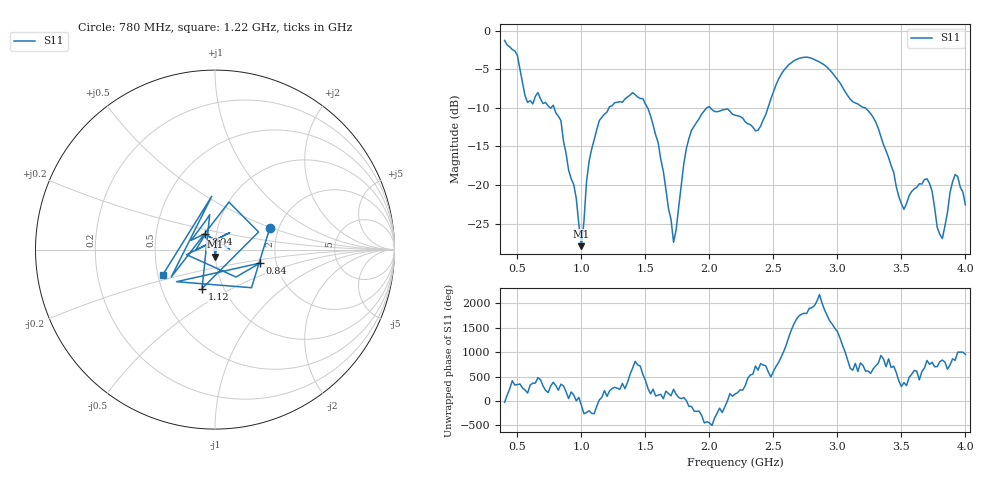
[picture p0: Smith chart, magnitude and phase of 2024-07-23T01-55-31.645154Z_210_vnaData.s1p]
!Created with skrf (http://scikit-rf.org).
# Hz S RI R 50.0
!freq ReS11 ImS11
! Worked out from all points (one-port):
!   181 points, 400 MHz to 4 GHz, reference 50 ohm
!   lowest |S11| = -27.9 dB at 1 GHz (marker M1), VSWR 1.08, Z = 49.9 - j4.01 ohm
!   |S11| at or under -10 dB: 1.518 GHz to 1.978 GHz (460.7 MHz wide, 26.4 % of centre); 2.009 GHz to 2.457 GHz (448.4 MHz wide, 20.1 % of centre); 3.217 GHz to end of sweep (the widest 3 of 5)
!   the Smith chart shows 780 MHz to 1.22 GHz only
!   S11 on the Smith chart (normalised r, x): 780 MHz: 1.79, +0.49; 840 MHz: 1.64, -0.26; 940 MHz: 0.89, +0.15; 1.12 GHz: 0.79, -0.36; 1.22 GHz: 0.53, -0.17
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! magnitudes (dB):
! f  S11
! 400 MHz  -1.3
! 500 MHz  -3.2
! 580 MHz  -9.3
! 780 MHz  -9.7
! 840 MHz  -11.6
! 860 MHz  -14.3
! 940 MHz  -19.9
! 1 GHz  -27.9
! 1.06 GHz  -16.9
! 1.12 GHz  -12.8
! 1.22 GHz  -9.8
! 1.3 GHz  -9.2
! 1.48 GHz  -8.8
! 1.6 GHz  -14.5
! 1.72 GHz  -27.4
! 1.76 GHz  -22.9
! 1.86 GHz  -12.9
! 2.2 GHz  -10.9
! 2.38 GHz  -12.9
! 2.66 GHz  -3.9
! 3.1 GHz  -8.9
! 3.3 GHz  -11.8
! 3.52 GHz  -23.1
! 3.56 GHz  -21.4
! 3.7 GHz  -19.2
! 3.82 GHz  -26.9
! 3.92 GHz  -18.6
! 4 GHz  -22.6
